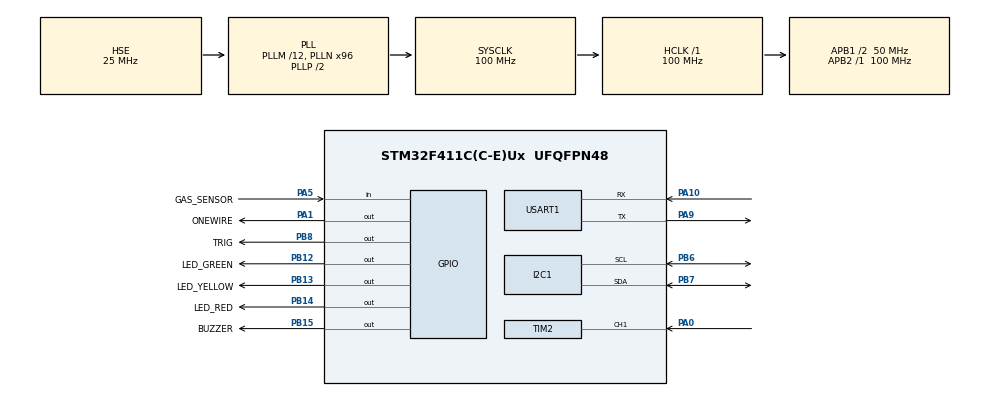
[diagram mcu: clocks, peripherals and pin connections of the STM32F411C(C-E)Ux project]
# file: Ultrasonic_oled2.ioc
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I2C1.I2C_Mode=I2C_Fast
Mcu.Family=STM32F4
Mcu.Name=STM32F411C(C-E)Ux
Mcu.Package=UFQFPN48
NVIC.PriorityGroup=NVIC_PRIORITYGROUP_4
NVIC.TIM2_IRQn=true\:0\:0\:false\:false\:true\:true\:true\:true
PA0-WKUP.Signal=S_TIM2_CH1_ETR
PA1.GPIO_Label=ONEWIRE
PA1.GPIO_Speed=GPIO_SPEED_FREQ_HIGH
PA1.PinState=GPIO_PIN_SET
PA1.Signal=GPIO_Output
PA10.Mode=Asynchronous
PA10.Signal=USART1_RX
PA5.GPIO_Label=GAS_SENSOR
PA5.GPIO_PuPd=GPIO_PULLUP
PA5.Signal=GPIO_Input
PA9.Mode=Asynchronous
PA9.Signal=USART1_TX
PB12.GPIO_Label=LED_GREEN
PB12.Signal=GPIO_Output
PB13.GPIO_Label=LED_YELLOW
PB13.Signal=GPIO_Output
PB14.GPIO_Label=LED_RED
PB14.Signal=GPIO_Output
PB15.GPIO_Label=BUZZER
PB15.Signal=GPIO_Output
PB6.Mode=I2C
PB6.Signal=I2C1_SCL
PB7.Mode=I2C
PB7.Signal=I2C1_SDA
PB8.GPIO_Label=TRIG
PB8.GPIO_Speed=GPIO_SPEED_FREQ_HIGH
PB8.Signal=GPIO_Output
PH0\ -\ OSC_IN.Mode=HSE-External-Oscillator
PH0\ -\ OSC_IN.Signal=RCC_OSC_IN
PH1\ -\ OSC_OUT.Mode=HSE-External-Oscillator
PH1\ -\ OSC_OUT.Signal=RCC_OSC_OUT
ProjectManager.HeapSize=0x200
ProjectManager.StackSize=0x400
ProjectManager.TargetToolchain=STM32CubeIDE
RCC.48MHZClocksFreq_Value=50000000
RCC.AHBFreq_Value=100000000
RCC.APB1CLKDivider=RCC_HCLK_DIV2
RCC.APB1Freq_Value=50000000
RCC.APB1TimFreq_Value=100000000
RCC.APB2Freq_Value=100000000
RCC.APB2TimFreq_Value=100000000
RCC.CortexFreq_Value=100000000
RCC.HCLKFreq_Value=100000000
RCC.HSE_VALUE=25000000
RCC.HSI_VALUE=16000000
RCC.LSE_VALUE=32768
RCC.PLLM=12
RCC.PLLN=96
RCC.PLLSourceVirtual=RCC_PLLSOURCE_HSE
RCC.SYSCLKFreq_VALUE=100000000
RCC.SYSCLKSource=RCC_SYSCLKSOURCE_PLLCLK
RCC.VCOOutputFreq_Value=200000000
SH.S_TIM2_CH1_ETR.0=TIM2_CH1,Input_Capture1_from_TI1
TIM2.Channel-Input_Capture1_from_TI1=TIM_CHANNEL_1
TIM2.Period=65535
TIM2.Prescaler=100-1
USART1.VirtualMode=VM_ASYNC
VP_TIM2_VS_ClockSourceINT.Mode=Internal
board=custom

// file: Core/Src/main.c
/* USER CODE BEGIN Header */
/**
  ******************************************************************************
  * @file           : main.c
  * @brief          : Main program body (Non-Blocking Robo Guardian)
  ******************************************************************************
  */
/* USER CODE END Header */
#include "main.h"

/* USER CODE BEGIN Includes */
#include <stdio.h>
#include <string.h>
#include <stdbool.h>
#include "hcsr04.h"       // Changed to custom library
#include "ssd1306.h"
#include "ssd1306_fonts.h"
#include "ds18b20.h"
/* USER CODE END Includes */

/* USER CODE BEGIN PTD */
typedef enum {
    MODE_SAFE,
    MODE_HAZARD,
    MODE_EMERGENCY
} SystemMode_t;
/* USER CODE END PTD */

/* USER CODE BEGIN PD */
#define GAS_SENSOR_Pin     GPIO_PIN_5
#define GAS_SENSOR_Port    GPIOA

#define LED_GREEN_Pin      GPIO_PIN_12
#define LED_YELLOW_Pin     GPIO_PIN_13
#define LED_RED_Pin        GPIO_PIN_14
#define BUZZER_Pin         GPIO_PIN_15
#define OUTPUT_PORT        GPIOB

#define TEMP_THRESHOLD     45.0f // Set your temperature threshold here
/* USER CODE END PD */

I2C_HandleTypeDef hi2c1;

TIM_HandleTypeDef htim2;

UART_HandleTypeDef huart1;

/* USER CODE BEGIN PV */
uint16_t SysTicks = 0;
float Distance = 0.0;
float Temperature = 0.0;
char MSG[75] = {0}; // Increased size for UART packet

SystemMode_t CurrentMode = MODE_SAFE;
/* USER CODE END PV */

void SystemClock_Config(void);
static void MX_GPIO_Init(void);
static void MX_TIM2_Init(void);
static void MX_USART1_UART_Init(void);
static void MX_I2C1_Init(void);

int main(void)
{
  /* USER CODE BEGIN 1 */
  // Non-blocking state machine timers
  uint32_t last_sonar_trigger = 0;
  uint32_t last_oled_time = 0;
  uint32_t ds18b20_timer = 0;
  uint8_t  ds18b20_state = 0; // 0 = request conversion, 1 = wait/read

  uint32_t buzzer_timer = 0;
  uint32_t buzzer_interval = 0;
  /* USER CODE END 1 */

  /* MCU Configuration--------------------------------------------------------*/
  HAL_Init();
  SystemClock_Config();
  MX_GPIO_Init();
  MX_TIM2_Init();
  MX_USART1_UART_Init();
  MX_I2C1_Init();

  /* USER CODE BEGIN 2 */
  // Initialize the custom hardware-timer HC-SR04 library
  HCSR04_Init(&htim2);

  ssd1306_Init();
  delay_us_dwt_init(); // Initialize DWT timer for OneWire communication

  sprintf(MSG, "Your AI-Powered Robo Guardian Online\r\n");
  HAL_UART_Transmit(&huart1, (uint8_t*)MSG, strlen(MSG), 100);

  ssd1306_Fill(Black);
  /* USER CODE END 2 */

  /* Infinite loop */
  /* USER CODE BEGIN WHILE */
  while (1)
  {
      uint32_t current_time = HAL_GetTick();

      // ==========================================================
      // 1. NON-BLOCKING ULTRASONIC SENSOR (Trigger Every 100ms)
      // ==========================================================
      if (current_time - last_sonar_trigger >= 100) {
          HCSR04_Trigger();
          last_sonar_trigger = current_time;
      }

      // ==========================================================
      // 2. NON-BLOCKING DS18B20 TEMPERATURE SENSOR
      // ==========================================================
      if (ds18b20_state == 0) {
          onewire_reset();
          onewire_Write(0xCC);
          onewire_Write(0x44);
          ds18b20_timer = current_time;
          ds18b20_state = 1;
      }
      else if (ds18b20_state == 1 && (current_time - ds18b20_timer >= 750)) {
          onewire_reset();
          onewire_Write(0xCC);
          onewire_Write(0xBE);

          uint8_t temp_lsb = onewire_Read();
          uint8_t temp_msb = onewire_Read();
          int16_t raw_temp = (temp_msb << 8) | temp_lsb;
          Temperature = (float)raw_temp / 16.0;

          ds18b20_state = 0;
      }

      // ==========================================================
      // 3. SENSOR EVALUATION & MODE LOGIC
      // ==========================================================
      bool gas_alert = (HAL_GPIO_ReadPin(GAS_SENSOR_Port, GAS_SENSOR_Pin) == GPIO_PIN_RESET);
      bool temp_alert = (Temperature >= TEMP_THRESHOLD);

      if (gas_alert && temp_alert) {
          CurrentMode = MODE_EMERGENCY;
      } else if (gas_alert || temp_alert) {
          CurrentMode = MODE_HAZARD;
      } else {
          CurrentMode = MODE_SAFE;
      }

      // ==========================================================
      // 4. HARDWARE ACTUATION (LEDs & Buzzer)
      // ==========================================================
      HAL_GPIO_WritePin(OUTPUT_PORT, LED_GREEN_Pin,  (CurrentMode == MODE_SAFE)      ? GPIO_PIN_SET : GPIO_PIN_RESET);
      HAL_GPIO_WritePin(OUTPUT_PORT, LED_YELLOW_Pin, (CurrentMode == MODE_HAZARD)    ? GPIO_PIN_SET : GPIO_PIN_RESET);
      HAL_GPIO_WritePin(OUTPUT_PORT, LED_RED_Pin,    (CurrentMode == MODE_EMERGENCY) ? GPIO_PIN_SET : GPIO_PIN_RESET);

      if (CurrentMode == MODE_EMERGENCY) {
          buzzer_interval = 100;
      } else if (CurrentMode == MODE_HAZARD) {
          buzzer_interval = 500;
      } else {
          buzzer_interval = 0;
          HAL_GPIO_WritePin(OUTPUT_PORT, BUZZER_Pin, GPIO_PIN_RESET);
      }

      if (buzzer_interval > 0) {
          if (current_time - buzzer_timer >= buzzer_interval) {
              buzzer_timer = current_time;
              HAL_GPIO_TogglePin(OUTPUT_PORT, BUZZER_Pin);
          }
      }

      // ==========================================================
      // 5. OLED DISPLAY & UART PACKET UPDATE (Every 250ms)
      // ==========================================================
      if (current_time - last_oled_time >= 250) {

          Distance = HCSR04_GetDistance(); // Fetch the latest background calculation

          // --- UART TRANSMISSION ---
          const char* mode_str = (CurrentMode == MODE_SAFE) ? "SAFE" : ((CurrentMode == MODE_HAZARD) ? "HAZARD" : "EMERGENCY");
          const char* gas_str = gas_alert ? "ALERT" : "OK";

          sprintf(MSG, "[DIST:%d|TEMP:%.1f|GAS:%s|MODE:%s]\r\n", (int)Distance, Temperature, gas_str, mode_str);
          HAL_UART_Transmit(&huart1, (uint8_t*)MSG, strlen(MSG), 10);

          // --- OLED UPDATE ---
          ssd1306_Fill(Black);

          sprintf(MSG, "Dist: %d cm", (int)Distance);
          ssd1306_SetCursor(0, 0);
          ssd1306_WriteString(MSG, Font_7x10, White);

          sprintf(MSG, "Temp: %.1f C", Temperature);
          ssd1306_SetCursor(0, 12);
          ssd1306_WriteString(MSG, Font_7x10, White);

          sprintf(MSG, "Gas : %s", gas_str);
          ssd1306_SetCursor(0, 24);
          ssd1306_WriteString(MSG, Font_7x10, White);

          ssd1306_SetCursor(0, 42);
          if (CurrentMode == MODE_SAFE) {
              ssd1306_WriteString("SAFE", Font_11x18, White);
          } else if (CurrentMode == MODE_HAZARD) {
              ssd1306_WriteString("HAZARD", Font_11x18, White);
          } else {
              ssd1306_WriteString("EMERGENCY", Font_11x18, White);
          }

          ssd1306_UpdateScreen();
          last_oled_time = current_time;
      }
    /* USER CODE END WHILE */

  }
}

void SystemClock_Config(void)
{
  RCC_OscInitTypeDef RCC_OscInitStruct = {0};
  RCC_ClkInitTypeDef RCC_ClkInitStruct = {0};

  __HAL_RCC_PWR_CLK_ENABLE();
  __HAL_PWR_VOLTAGESCALING_CONFIG(PWR_REGULATOR_VOLTAGE_SCALE1);

  RCC_OscInitStruct.OscillatorType = RCC_OSCILLATORTYPE_HSE;
  RCC_OscInitStruct.HSEState = RCC_HSE_ON;
  RCC_OscInitStruct.PLL.PLLState = RCC_PLL_ON;
  RCC_OscInitStruct.PLL.PLLSource = RCC_PLLSOURCE_HSE;
  RCC_OscInitStruct.PLL.PLLM = 12;
  RCC_OscInitStruct.PLL.PLLN = 96;
  RCC_OscInitStruct.PLL.PLLP = RCC_PLLP_DIV2;
  RCC_OscInitStruct.PLL.PLLQ = 4;
  if (HAL_RCC_OscConfig(&RCC_OscInitStruct) != HAL_OK)
  {
    Error_Handler();
  }

  RCC_ClkInitStruct.ClockType = RCC_CLOCKTYPE_HCLK|RCC_CLOCKTYPE_SYSCLK
                              |RCC_CLOCKTYPE_PCLK1|RCC_CLOCKTYPE_PCLK2;
  RCC_ClkInitStruct.SYSCLKSource = RCC_SYSCLKSOURCE_PLLCLK;
  RCC_ClkInitStruct.AHBCLKDivider = RCC_SYSCLK_DIV1;
  RCC_ClkInitStruct.APB1CLKDivider = RCC_HCLK_DIV2;
  RCC_ClkInitStruct.APB2CLKDivider = RCC_HCLK_DIV1;

  if (HAL_RCC_ClockConfig(&RCC_ClkInitStruct, FLASH_LATENCY_3) != HAL_OK)
  {
    Error_Handler();
  }
}

static void MX_I2C1_Init(void)
{
  hi2c1.Instance = I2C1;
  hi2c1.Init.ClockSpeed = 400000;
  hi2c1.Init.DutyCycle = I2C_DUTYCYCLE_2;
  hi2c1.Init.OwnAddress1 = 0;
  hi2c1.Init.AddressingMode = I2C_ADDRESSINGMODE_7BIT;
  hi2c1.Init.DualAddressMode = I2C_DUALADDRESS_DISABLE;
  hi2c1.Init.OwnAddress2 = 0;
  hi2c1.Init.GeneralCallMode = I2C_GENERALCALL_DISABLE;
  hi2c1.Init.NoStretchMode = I2C_NOSTRETCH_DISABLE;
  if (HAL_I2C_Init(&hi2c1) != HAL_OK)
  {
    Error_Handler();
  }
}

static void MX_TIM2_Init(void)
{
  TIM_ClockConfigTypeDef sClockSourceConfig = {0};
  TIM_MasterConfigTypeDef sMasterConfig = {0};
  TIM_IC_InitTypeDef sConfigIC = {0};

  htim2.Instance = TIM2;
  htim2.Init.Prescaler = 100-1;
  htim2.Init.CounterMode = TIM_COUNTERMODE_UP;
  htim2.Init.Period = 65535;
  htim2.Init.ClockDivision = TIM_CLOCKDIVISION_DIV1;
  htim2.Init.AutoReloadPreload = TIM_AUTORELOAD_PRELOAD_DISABLE;
  if (HAL_TIM_Base_Init(&htim2) != HAL_OK)
  {
    Error_Handler();
  }
  sClockSourceConfig.ClockSource = TIM_CLOCKSOURCE_INTERNAL;
  if (HAL_TIM_ConfigClockSource(&htim2, &sClockSourceConfig) != HAL_OK)
  {
    Error_Handler();
  }
  if (HAL_TIM_IC_Init(&htim2) != HAL_OK)
  {
    Error_Handler();
  }
  sMasterConfig.MasterOutputTrigger = TIM_TRGO_RESET;
  sMasterConfig.MasterSlaveMode = TIM_MASTERSLAVEMODE_DISABLE;
  if (HAL_TIMEx_MasterConfigSynchronization(&htim2, &sMasterConfig) != HAL_OK)
  {
    Error_Handler();
  }
  sConfigIC.ICPolarity = TIM_INPUTCHANNELPOLARITY_RISING;
  sConfigIC.ICSelection = TIM_ICSELECTION_DIRECTTI;
  sConfigIC.ICPrescaler = TIM_ICPSC_DIV1;
  sConfigIC.ICFilter = 0;
  if (HAL_TIM_IC_ConfigChannel(&htim2, &sConfigIC, TIM_CHANNEL_1) != HAL_OK)
  {
    Error_Handler();
  }
}

static void MX_USART1_UART_Init(void)
{
  huart1.Instance = USART1;
  huart1.Init.BaudRate = 115200;
  huart1.Init.WordLength = UART_WORDLENGTH_8B;
  huart1.Init.StopBits = UART_STOPBITS_1;
  huart1.Init.Parity = UART_PARITY_NONE;
  huart1.Init.Mode = UART_MODE_TX_RX;
  huart1.Init.HwFlowCtl = UART_HWCONTROL_NONE;
  huart1.Init.OverSampling = UART_OVERSAMPLING_16;
  if (HAL_UART_Init(&huart1) != HAL_OK)
  {
    Error_Handler();
  }
}

static void MX_GPIO_Init(void)
{
  GPIO_InitTypeDef GPIO_InitStruct = {0};

  /* GPIO Ports Clock Enable */
  __HAL_RCC_GPIOH_CLK_ENABLE();
  __HAL_RCC_GPIOA_CLK_ENABLE();
  __HAL_RCC_GPIOB_CLK_ENABLE();

  /*Configure GPIO pin Output Level */
  HAL_GPIO_WritePin(ONEWIRE_GPIO_Port, ONEWIRE_Pin, GPIO_PIN_SET);

  /*Configure GPIO pin Output Level */
  HAL_GPIO_WritePin(GPIOB, LED_GREEN_Pin|LED_YELLOW_Pin|LED_RED_Pin|BUZZER_Pin
                          |TRIG_Pin, GPIO_PIN_RESET);

  /*Configure GPIO pin : ONEWIRE_Pin */
  GPIO_InitStruct.Pin = ONEWIRE_Pin;
  GPIO_InitStruct.Mode = GPIO_MODE_OUTPUT_PP;
  GPIO_InitStruct.Pull = GPIO_NOPULL;
  GPIO_InitStruct.Speed = GPIO_SPEED_FREQ_HIGH;
  HAL_GPIO_Init(ONEWIRE_GPIO_Port, &GPIO_InitStruct);

  /*Configure GPIO pin : GAS_SENSOR_Pin */
  GPIO_InitStruct.Pin = GAS_SENSOR_Pin;
  GPIO_InitStruct.Mode = GPIO_MODE_INPUT;
  GPIO_InitStruct.Pull = GPIO_PULLUP;
  HAL_GPIO_Init(GAS_SENSOR_GPIO_Port, &GPIO_InitStruct);

  /*Configure GPIO pins : LED_GREEN_Pin LED_YELLOW_Pin LED_RED_Pin BUZZER_Pin */
  GPIO_InitStruct.Pin = LED_GREEN_Pin|LED_YELLOW_Pin|LED_RED_Pin|BUZZER_Pin;
  GPIO_InitStruct.Mode = GPIO_MODE_OUTPUT_PP;
  GPIO_InitStruct.Pull = GPIO_NOPULL;
  GPIO_InitStruct.Speed = GPIO_SPEED_FREQ_LOW;
  HAL_GPIO_Init(GPIOB, &GPIO_InitStruct);

  /*Configure GPIO pin : TRIG_Pin */
  GPIO_InitStruct.Pin = TRIG_Pin;
  GPIO_InitStruct.Mode = GPIO_MODE_OUTPUT_PP;
  GPIO_InitStruct.Pull = GPIO_NOPULL;
  GPIO_InitStruct.Speed = GPIO_SPEED_FREQ_HIGH;
  HAL_GPIO_Init(TRIG_GPIO_Port, &GPIO_InitStruct);
}

/* USER CODE BEGIN 4 */

// Custom Input Capture Callback for the HC-SR04
void HAL_TIM_IC_CaptureCallback(TIM_HandleTypeDef *htim)
{
    HCSR04_CaptureCallback(htim);
}

// You can safely remove the SysTick and Overflow callbacks here,
// as the custom library handles it all internally now.

/* USER CODE END 4 */

void Error_Handler(void)
{
  __disable_irq();
  while (1)
  {
  }
}
